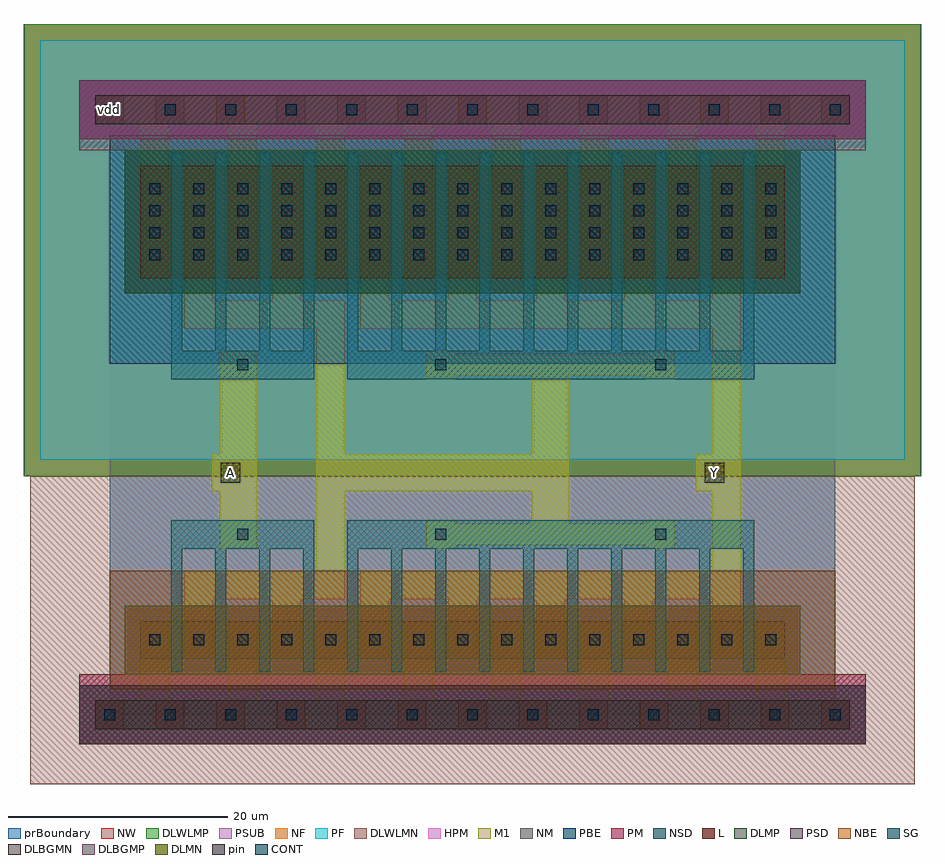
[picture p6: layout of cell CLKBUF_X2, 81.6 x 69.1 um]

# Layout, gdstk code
import gdstk
lib = gdstk.Library(unit=1e-6, precision=1e-09)
def R(c, l, rs):  # rectangles x0, y0, x1, y1
    for r in rs: c.add(gdstk.rectangle(r[:2], r[2:], *l))
def A(c, l, x, y, w, h, nx, ny, dx, dy):  # array of equal rectangles
    R(c, l, [(x+i*dx, y+j*dy, x+i*dx+w, y+j*dy+h) for i in range(nx) for j in range(ny)])
def P(c, l, *ps):  # polygons
    for p in ps: c.add(gdstk.Polygon(p, *l))
L = (3, 0)
NM = (7, 0)
SG = (8, 0)
PSD = (9, 0)
CONT = (11, 0)
M1 = (13, 0)
NF = (25, 0)
PF = (26, 0)
NSD = (28, 0)
HPM = (33, 0)
PM = (35, 0)
NW = (36, 0)
pin = (48, 1)
PSUB = (140, 0)
PBE = (146, 0)
NBE = (147, 0)
DLWLMP = (150, 0)
DLWLMN = (151, 0)
DLMP = (157, 0)
DLMN = (158, 0)
DLBGMP = (177, 0)
DLBGMN = (178, 0)
prBoundary = (235, 0)

clkbuf_x2 = lib.new_cell('CLKBUF_X2')
A(clkbuf_x2, L, -1.3, -1.3, 2.6, 2.6, 13, 2, 5.5, 55)
R(clkbuf_x2, L, [(2.8,5.1,61.4,8.5), (2.8,39.7,61.4,49.9)])
R(clkbuf_x2, NM, [(-2.75,-2.7,68.75,2.7)])
P(clkbuf_x2, NM, [(1.4,38.3),(1.4,51.3),(-2.75,51.3),(-2.75,57.7),(68.75,57.7),(68.75,51.3),(62.8,51.3),(62.8,38.3)])
P(clkbuf_x2, SG, [(5.6,3.9),(5.6,17.7),(18.6,17.7),(18.6,3.9),(17.6,3.9),(17.6,15.1),(14.6,15.1),(14.6,3.9),(13.6,3.9),(13.6,15.1),(10.6,15.1),(10.6,3.9),(9.6,3.9),(9.6,15.1),(6.6,15.1),(6.6,3.9)],
  [(21.6,3.9),(21.6,17.7),(58.6,17.7),(58.6,3.9),(57.6,3.9),(57.6,15.1),(54.6,15.1),(54.6,3.9),(53.6,3.9),(53.6,15.1),(50.6,15.1),(50.6,3.9),(49.6,3.9),(49.6,15.1),(46.6,15.1),(46.6,3.9),(45.6,3.9),(45.6,15.1),(42.6,15.1),(42.6,3.9),(41.6,3.9),(41.6,15.1),(38.6,15.1),(38.6,3.9),(37.6,3.9),(37.6,15.1),(34.6,15.1),(34.6,3.9),(33.6,3.9),(33.6,15.1),(30.6,15.1),(30.6,3.9),(29.6,3.9),(29.6,15.1),(26.6,15.1),(26.6,3.9),(25.6,3.9),(25.6,15.1),(22.6,15.1),(22.6,3.9)],
  [(5.6,30.5),(5.6,51.1),(6.6,51.1),(6.6,33.1),(9.6,33.1),(9.6,51.1),(10.6,51.1),(10.6,33.1),(13.6,33.1),(13.6,51.1),(14.6,51.1),(14.6,33.1),(17.6,33.1),(17.6,51.1),(18.6,51.1),(18.6,30.5)],
  [(21.6,30.5),(21.6,51.1),(22.6,51.1),(22.6,33.1),(25.6,33.1),(25.6,51.1),(26.6,51.1),(26.6,33.1),(29.6,33.1),(29.6,51.1),(30.6,51.1),(30.6,33.1),(33.6,33.1),(33.6,51.1),(34.6,51.1),(34.6,33.1),(37.6,33.1),(37.6,51.1),(38.6,51.1),(38.6,33.1),(41.6,33.1),(41.6,51.1),(42.6,51.1),(42.6,33.1),(45.6,33.1),(45.6,51.1),(46.6,51.1),(46.6,33.1),(49.6,33.1),(49.6,51.1),(50.6,51.1),(50.6,33.1),(53.6,33.1),(53.6,51.1),(54.6,51.1),(54.6,33.1),(57.6,33.1),(57.6,51.1),(58.6,51.1),(58.6,30.5)])
R(clkbuf_x2, PSD, [(1.4,3.7,62.8,9.9), (-2.75,52.3,68.75,57.7)])
A(clkbuf_x2, CONT, -0.5, -0.5, 1, 1, 13, 2, 5.5, 55)
A(clkbuf_x2, CONT, 3.6, 6.3, 1, 1, 5, 2, 4, 35)
A(clkbuf_x2, CONT, 19.6, 6.3, 1, 1, 11, 2, 4, 35)
A(clkbuf_x2, CONT, 3.6, 43.3, 1, 1, 5, 3, 4, 2)
A(clkbuf_x2, CONT, 19.6, 43.3, 1, 1, 11, 3, 4, 2)
R(clkbuf_x2, CONT, [(11.6,15.9,12.6,16.9), (29.6,15.9,30.6,16.9), (49.6,15.9,50.6,16.9), (11.6,31.3,12.6,32.3), (29.6,31.3,30.6,32.3), (49.6,31.3,50.6,32.3)])
P(clkbuf_x2, M1, [(-1.3,-1.3),(-1.3,1.3),(2.8,1.3),(2.8,8.5),(5.4,8.5),(5.4,1.3),(10.8,1.3),(10.8,8.5),(13.4,8.5),(13.4,1.3),(18.8,1.3),(18.8,8.5),(21.4,8.5),(21.4,1.3),(26.8,1.3),(26.8,8.5),(29.4,8.5),(29.4,1.3),(34.8,1.3),(34.8,8.5),(37.4,8.5),(37.4,1.3),(42.8,1.3),(42.8,8.5),(45.4,8.5),(45.4,1.3),(50.8,1.3),(50.8,8.5),(53.4,8.5),(53.4,1.3),(58.8,1.3),(58.8,8.5),(61.4,8.5),(61.4,1.3),(67.3,1.3),(67.3,-1.3)],
  [(10,15.1),(10,20.3),(9.3,20.3),(9.3,23.7),(10,23.7),(10,33.1),(13.4,33.1),(13.4,15.1)],
  [(6.8,5.1),(6.8,13.1),(18.8,13.1),(18.8,35.1),(6.8,35.1),(6.8,49.9),(9.4,49.9),(9.4,37.7),(14.8,37.7),(14.8,49.9),(17.4,49.9),(17.4,37.7),(21.4,37.7),(21.4,23.7),(38.4,23.7),(38.4,30.8),(31.4,30.8),(31.4,30.5),(28.8,30.5),(28.8,33.1),(31.4,33.1),(31.4,32.8),(48.8,32.8),(48.8,33.1),(51.4,33.1),(51.4,30.5),(48.8,30.5),(48.8,30.8),(41.8,30.8),(41.8,17.4),(48.8,17.4),(48.8,17.7),(51.4,17.7),(51.4,15.1),(48.8,15.1),(48.8,15.4),(31.4,15.4),(31.4,15.1),(28.8,15.1),(28.8,17.7),(31.4,17.7),(31.4,17.4),(38.4,17.4),(38.4,20.3),(21.4,20.3),(21.4,10.5),(17.4,10.5),(17.4,5.1),(14.8,5.1),(14.8,10.5),(9.4,10.5),(9.4,5.1)],
  [(22.8,5.1),(22.8,13.1),(54.8,13.1),(54.8,20.3),(53.3,20.3),(53.3,23.7),(54.8,23.7),(54.8,35.1),(22.8,35.1),(22.8,49.9),(25.4,49.9),(25.4,37.7),(30.8,37.7),(30.8,49.9),(33.4,49.9),(33.4,37.7),(38.8,37.7),(38.8,49.9),(41.4,49.9),(41.4,37.7),(46.8,37.7),(46.8,49.9),(49.4,49.9),(49.4,37.7),(54.8,37.7),(54.8,49.9),(57.4,49.9),(57.4,5.1),(54.8,5.1),(54.8,10.5),(49.4,10.5),(49.4,5.1),(46.8,5.1),(46.8,10.5),(41.4,10.5),(41.4,5.1),(38.8,5.1),(38.8,10.5),(33.4,10.5),(33.4,5.1),(30.8,5.1),(30.8,10.5),(25.4,10.5),(25.4,5.1)],
  [(2.8,39.7),(2.8,53.7),(-1.3,53.7),(-1.3,56.3),(67.3,56.3),(67.3,53.7),(61.4,53.7),(61.4,39.7),(58.8,39.7),(58.8,53.7),(53.4,53.7),(53.4,39.7),(50.8,39.7),(50.8,53.7),(45.4,53.7),(45.4,39.7),(42.8,39.7),(42.8,53.7),(37.4,53.7),(37.4,39.7),(34.8,39.7),(34.8,53.7),(29.4,53.7),(29.4,39.7),(26.8,39.7),(26.8,53.7),(21.4,53.7),(21.4,39.7),(18.8,39.7),(18.8,53.7),(13.4,53.7),(13.4,39.7),(10.8,39.7),(10.8,53.7),(5.4,53.7),(5.4,39.7)])
R(clkbuf_x2, NF, [(-6.3,23.2,72.3,61.3)])
R(clkbuf_x2, PF, [(-6.3,23.2,72.3,61.3)])
R(clkbuf_x2, NSD, [(-2.75,-2.7,68.75,2.7), (1.4,38.3,62.8,51.3)])
P(clkbuf_x2, HPM, [(-2.75,-2.7),(-2.75,3.7),(1.4,3.7),(1.4,9.9),(62.8,9.9),(62.8,3.7),(68.75,3.7),(68.75,-2.7)],
  [(1.4,38.3),(1.4,51.3),(-2.75,51.3),(-2.75,57.7),(68.75,57.7),(68.75,51.3),(62.8,51.3),(62.8,38.3)])
R(clkbuf_x2, PM, [(-2.75,52.3,68.75,57.7)])
P(clkbuf_x2, PM, [(-2.75,-2.7),(-2.75,3.7),(1.4,3.7),(1.4,9.9),(62.8,9.9),(62.8,3.7),(68.75,3.7),(68.75,-2.7)])
R(clkbuf_x2, NW, [(-7.8,21.7,73.8,62.8)])
R(clkbuf_x2, pin, [(-1.3,-1.3,67.3,1.3), (10.1,21.1,11.9,22.9), (54.1,21.1,55.9,22.9), (-1.3,53.7,67.3,56.3)])
R(clkbuf_x2, PSUB, [(-6.3,23.2,72.3,61.3)])
R(clkbuf_x2, PBE, [(0,31.9,66,52.7)])
R(clkbuf_x2, NBE, [(0,2.3,66,13.1)])
R(clkbuf_x2, DLWLMP, [(-7.8,21.7,73.8,62.8)])
R(clkbuf_x2, DLWLMN, [(-7.2,-6.3,73.2,21.7)])
R(clkbuf_x2, DLMP, [(1.4,38.3,62.8,51.3)])
R(clkbuf_x2, DLMN, [(1.4,3.7,62.8,9.9)])
R(clkbuf_x2, DLBGMP, [(-2.75,52.3,68.75,57.7)])
R(clkbuf_x2, DLBGMN, [(-2.75,-2.7,68.75,2.7)])
R(clkbuf_x2, prBoundary, [(0,0,66,55)])
clkbuf_x2.add(gdstk.Label('A', (11,22), layer=48, texttype=0))
clkbuf_x2.add(gdstk.Label('Y', (55,22), layer=48, texttype=0))
clkbuf_x2.add(gdstk.Label('vdd', (0,55), layer=48, texttype=0))

lib.write_gds('CLKBUF_X2.gds')
